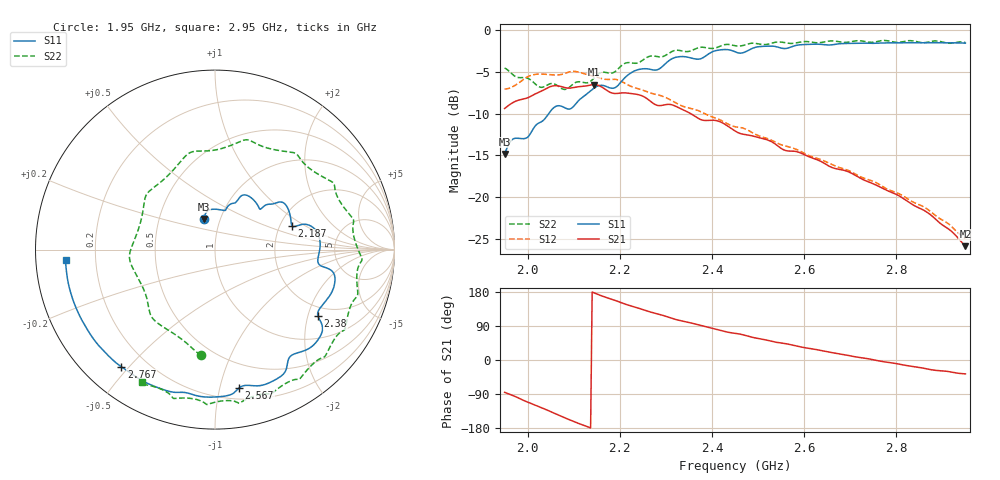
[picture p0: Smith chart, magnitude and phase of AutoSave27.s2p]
!Agilent N9923A: A.07.32
!Date: Wednesday, 01 June 2016 23:38:43
!Model: N9923A
!Serial: MY52412257
!GPS Latitude:
!GPS Longitude:
!GPS TimeStamp: 0001-01-01 00:00:00Z
!GPS Seconds Since Last Read: 0
!CHECKSUM:1103016180
!Correction: S11(ON U)S21(ON U)S12(ON U)S22(ON U)
!S2P File: Measurements:S11,S21,S12,S22:
# Hz S DB R 50
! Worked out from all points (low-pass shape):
!   301 points, 1.95 GHz to 2.95 GHz, reference 50 ohm
!   highest |S21| = -6.54 dB at 2.143 GHz (marker M1); lowest = -25.9 dB at 2.95 GHz (marker M2)
!   |S21| within 3 dB of the highest: start of sweep to 2.337 GHz
!   lowest |S11| = -14.8 dB at 1.95 GHz (marker M3), VSWR 1.44, Z = 41.9 + j14.8 ohm
!   |S11| at or under -10 dB: start of sweep to 2.046 GHz
!   |S22| runs from -7.1 to -1.2 dB; largest |S21 - S12| = 0.15
!   S11 on the Smith chart (normalised r, x): 1.95 GHz: 0.84, +0.30; 2.187 GHz: 2.33, +0.76; 2.38 GHz: 1.68, -2.32; 2.567 GHz: 0.29, -1.15; 2.767 GHz: 0.11, -0.48; 2.95 GHz: 0.09, -0.04
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1.95e9  -14.84 109.6  -9.39 -85.3  -7.07 -79.4  -4.54 -97.6
1.966667e9  -13.09 99.9  -8.73 -93.1  -6.81 -86.0  -5.28 -107.0
2.003333e9  -12.62 74.7  -8.03 -112.5  -5.51 -105.5  -5.86 -135.0
2.05e9  -9.68 64.4  -6.76 -136.4  -5.34 -133.1  -6.41 -172.4
2.12e9  -8.00 39.5  -6.74 -171.6  -5.19 -169.5  -6.26 134.8
2.143333e9  -6.98 36.3  -6.54 177.6  -5.53 179.5  -5.79 114.2
2.186667e9  -6.96 16.9  -7.58 158.6  -5.89 161.2  -5.08 88.8
2.23e9  -4.95 11.9  -7.64 140.6  -6.86 141.4  -3.97 68.6
2.26e9  -4.65 1.8  -8.25 128.9  -7.41 130.4  -3.24 52.1
2.286667e9  -4.61 -8.3  -9.05 120.2  -7.82 120.9  -3.22 44.3
2.323333e9  -3.24 -13.9  -9.18 106.3  -8.78 107.0  -2.41 29.1
2.38e9  -3.33 -32.8  -10.79 90.0  -9.89 90.0  -2.06 11.8
2.413333e9  -2.41 -38.9  -10.89 79.6  -10.65 80.3  -2.04 1.2
2.453333e9  -2.67 -51.6  -12.19 69.9  -11.61 70.5  -1.90 -7.3
2.536667e9  -1.96 -71.8  -13.61 47.4  -13.39 48.3  -1.47 -30.3
2.566667e9  -2.13 -80.1  -14.48 41.6  -13.98 42.2  -1.59 -34.4
2.62e9  -1.70 -92.2  -15.36 28.9  -15.22 29.5  -1.48 -46.2
2.656667e9  -1.79 -102.0  -16.36 20.3  -16.01 21.0  -1.31 -56.5
2.766667e9  -1.56 -128.6  -18.84 -3.4  -18.60 -2.8  -1.28 -80.3
2.783333e9  -1.54 -132.5  -19.29 -6.3  -19.12 -5.8  -1.30 -81.6
2.87e9  -1.52 -154.6  -21.93 -24.4  -21.54 -24.4  -1.43 -102.8
2.95e9  -1.57 -175.9  -25.87 -36.6  -24.97 -43.9  -1.49 -119.0
